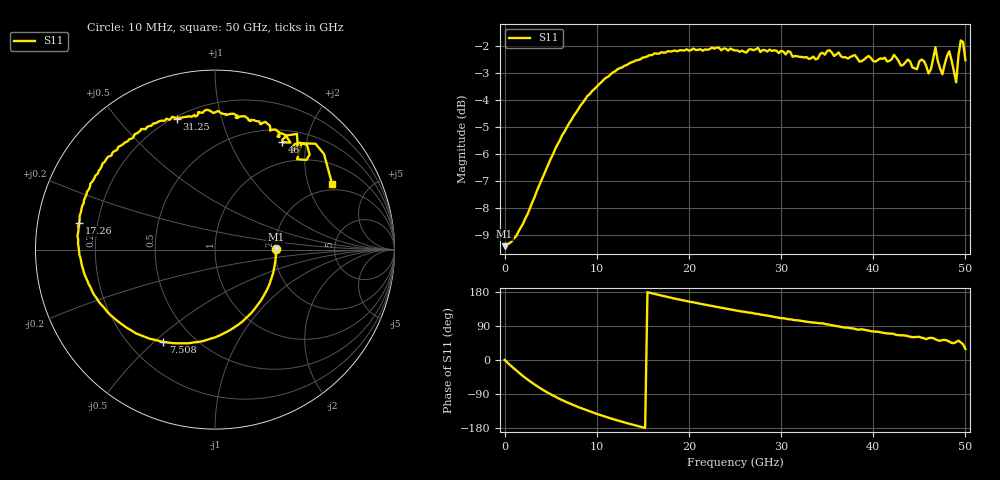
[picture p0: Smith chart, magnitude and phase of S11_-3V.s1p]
!Agilent Technologies,N5227A,US51270434,A.10.00.00
!Agilent N5227A: A.10.00.00
!Date: Thursday, February 26, 2026 12:46:31
!Correction: S11(Full 1 Port(1))
!S1P File: Measurement: S11:
# Hz S  dB  R 50
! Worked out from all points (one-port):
!   201 points, 10 MHz to 50 GHz, reference 50 ohm
!   lowest |S11| = -9.4 dB at 10 MHz (marker M1), VSWR 2.02, Z = 101 + j0.154 ohm
!   |S11| at or under -10 dB: nowhere
!   S11 on the Smith chart (normalised r, x): 10 MHz: 2.02, +0.00; 7.508 GHz: 0.34, -0.53; 17.26 GHz: 0.13, +0.10; 31.25 GHz: 0.21, +0.73; 46 GHz: 0.67, +1.60; 50 GHz: 1.74, +2.88
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1e7  -9.42 0.1
1.75965e9  -8.73 -37.5
3.5093e9  -7.37 -68.8
6.25875e9  -5.30 -105.9
7.5085e9  -4.59 -119.4
1.0008e10  -3.51 -142.2
1.25075e10  -2.82 -161.3
1.5007e10  -2.43 -177.7
1.725655e10  -2.25 168.9
1.875625e10  -2.20 160.5
2.5005e10  -2.17 131.1
2.925415e10  -2.16 113.6
3.125375e10  -2.40 106.3
3.525295e10  -2.16 93.1
3.75025e10  -2.41 84.1
4.375125e10  -2.50 63.2
4.475105e10  -2.86 61.0
4.575085e10  -2.74 54.8
4.60008e10  -3.02 57.9
4.675065e10  -2.05 54.7
4.75005e10  -3.05 52.6
4.80004e10  -2.37 51.5
4.875025e10  -2.93 44.4
4.90002e10  -3.35 47.7
4.925015e10  -2.35 50.9
4.95001e10  -1.80 46.5
4.975005e10  -1.85 41.3
5e10  -2.53 29.2
